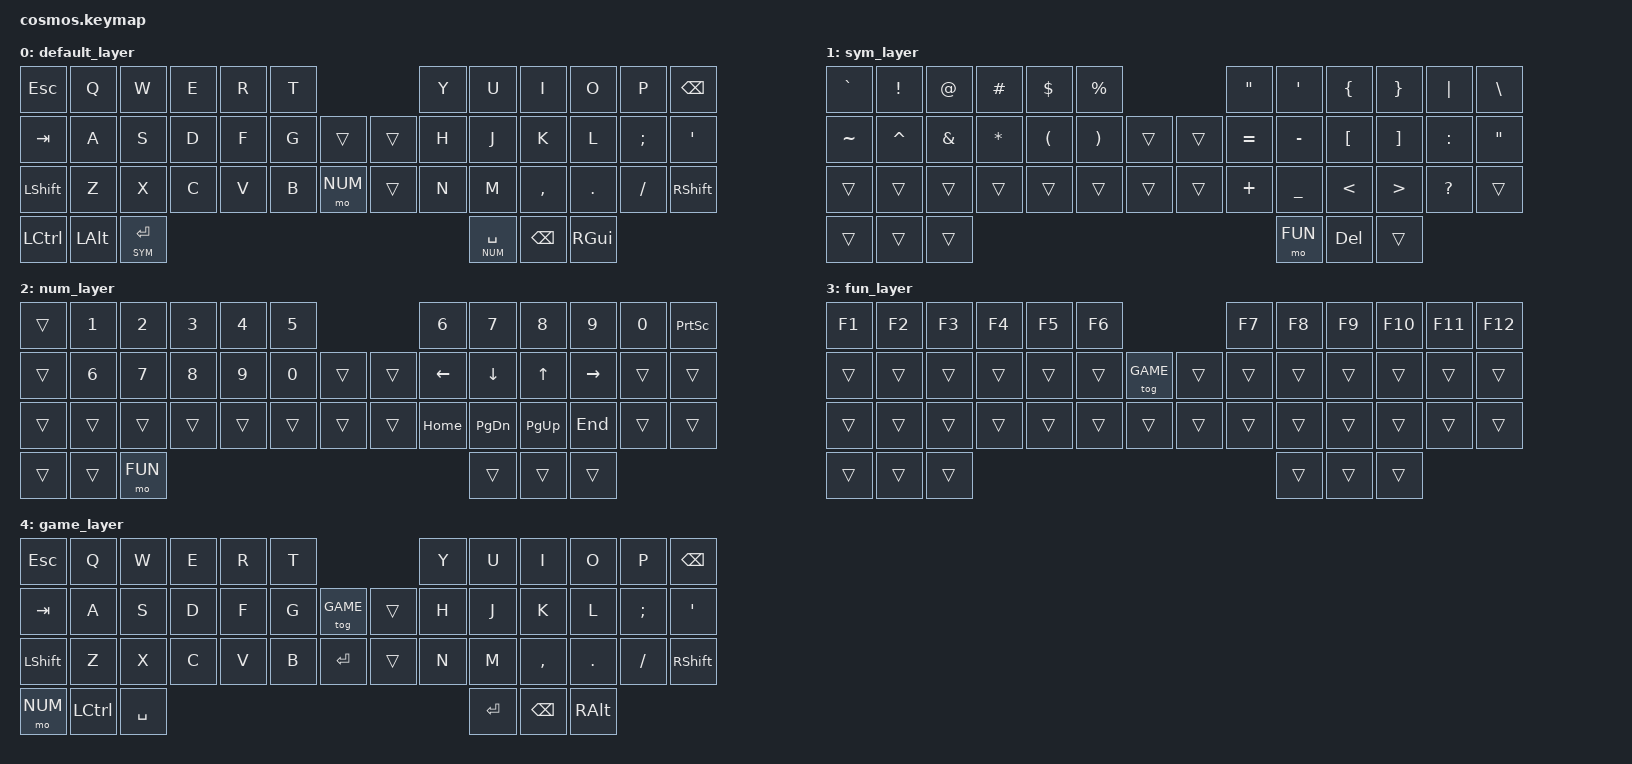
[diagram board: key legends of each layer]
#include <behaviors.dtsi>
#include <dt-bindings/zmk/keys.h>

#define BASE 0
#define SYM 1
#define NUM 2
#define FUN 3
#define GAME 4

/ {
        keymap {
                compatible = "zmk,keymap";

                default_layer {
                  bindings = <
        &kp ESC    &kp Q  &kp W  &kp E  &kp R  &kp T                     &kp Y  &kp U  &kp I      &kp O    &kp P     &kp BSPC
        &kp TAB    &kp A  &kp S  &kp D  &kp F  &kp G   &trans   &trans   &kp H  &kp J  &kp K      &kp L    &kp SEMI  &kp SQT
        &kp LSHFT  &kp Z  &kp X  &kp C  &kp V  &kp B   &mo NUM  &trans   &kp N  &kp M  &kp COMMA  &kp DOT  &kp FSLH  &kp RSHFT
        &kp LCTRL  &kp LALT  &lt SYM RET                                 &lt NUM SPACE  &kp BSPC  &kp RGUI
                        >;
                };

                sym_layer {
                    bindings = <
        &kp GRAVE   &kp EXCL   &kp AT    &kp HASH  &kp DOLLAR  &kp PRCNT                     &kp DQT   &kp SQT    &kp LBRC  &kp RBRC  &kp PIPE   &kp BSLH
        &kp TILDE   &kp CARET  &kp AMPS  &kp STAR  &kp LPAR    &kp RPAR    &trans  &trans    &kp EQL   &kp MINUS  &kp LBKT  &kp RBKT  &kp COLON  &kp DQT
        &trans      &trans     &trans    &trans    &trans      &trans      &trans  &trans    &kp PLUS  &kp UNDER  &kp LT    &kp GT    &kp QMARK  &trans
        &trans  &trans  &trans                                                               &mo FUN  &kp DEL  &trans
                        >;
                };

                num_layer {
                  bindings = <
        &trans  &kp N1  &kp N2  &kp N3  &kp N4  &kp N5                      &kp N6    &kp N7     &kp N8     &kp N9     &kp N0  &kp PSCRN
        &trans  &kp N6  &kp N7  &kp N8  &kp N9  &kp N0    &trans  &trans    &kp LEFT  &kp DOWN   &kp UP     &kp RIGHT  &trans  &trans
        &trans  &trans  &trans  &trans  &trans  &trans    &trans  &trans    &kp HOME  &kp PG_DN  &kp PG_UP  &kp END    &trans   &trans
        &trans  &trans  &mo FUN                                             &trans  &trans  &trans
                        >;
                };

                fun_layer {
                  bindings = <
        &kp F1  &kp F2  &kp F3  &kp F4  &kp F5  &kp F6                         &kp F7        &kp F8        &kp F9        &kp F10      &kp F11  &kp F12
        &trans  &trans  &trans  &trans  &trans  &trans    &tog GAME  &trans    &trans        &trans        &trans        &trans       &trans   &trans
        &trans  &trans  &trans  &trans  &trans  &trans    &trans     &trans    &trans        &trans        &trans        &trans       &trans   &trans
        &trans  &trans  &trans                                                 &trans  &trans  &trans
                        >;
                };

                game_layer {
                  bindings = <
        &kp ESC    &kp Q  &kp W  &kp E  &kp R  &kp T                       &kp Y  &kp U  &kp I      &kp O    &kp P     &kp BSPC
        &kp TAB    &kp A  &kp S  &kp D  &kp F  &kp G   &tog GAME   &trans   &kp H  &kp J  &kp K      &kp L    &kp SEMI  &kp SQT
        &kp LSHFT  &kp Z  &kp X  &kp C  &kp V  &kp B   &kp RET     &trans   &kp N  &kp M  &kp COMMA  &kp DOT  &kp FSLH  &kp RSHFT
        &mo NUM  &kp LCTRL  &kp SPACE                                      &kp RET  &kp BSPC  &kp RALT
                        >;
                };
        };
};
